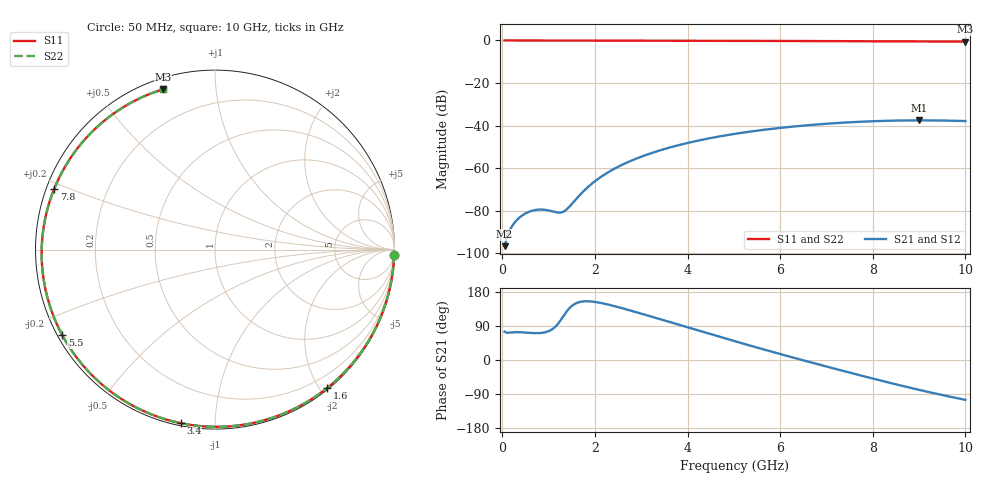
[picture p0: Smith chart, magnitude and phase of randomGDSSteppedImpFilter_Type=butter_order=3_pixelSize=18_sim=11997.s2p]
! freq	dB(S11)	phase(S11)	dB(S12)	phase(S12)
!  dB(S21)	phase(S21)	dB(S22)	phase(S22)
!S-par simulation data
#  GHz  S  DB  R 50
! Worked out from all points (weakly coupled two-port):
!   200 points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, 50 MHz to 10 GHz, reference 50 ohm
!   highest |S21| = -37.55 dB at 9 GHz (marker M1); lowest = -96.7 dB at 50 MHz (marker M2)
!   lowest |S11| = -0.5 dB at 10 GHz (marker M3), VSWR 31.66, Z = 2.41 + j36.3 ohm
!   |S11| at or under -10 dB: nowhere
!   |S22| runs from -0.5 to 0.0 dB; largest |S21 - S12| = 0
!   S11 on the Smith chart (normalised r, x): 50 MHz: 2, -73; 1.6 GHz: 0.02, -2.10; 3.4 GHz: 0.01, -0.82; 5.5 GHz: 0.01, -0.26; 7.8 GHz: 0.02, +0.18; 10 GHz: 0.05, +0.73
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0.05  -0.01 -1.6  -96.66 74.9  -96.66 74.9  -0.01 -1.6
0.65  -0.03 -21.1  -79.98 71.1  -79.98 71.1  -0.03 -21.1
0.85  -0.04 -27.5  -79.46 71.6  -79.46 71.6  -0.04 -27.5
1.35  -0.05 -43.3  -80.07 121.3  -80.07 121.3  -0.05 -43.3
1.45  -0.06 -46.3  -78.10 136.9  -78.10 136.9  -0.06 -46.3
1.6  -0.06 -50.9  -74.40 150.1  -74.40 150.1  -0.06 -50.9
1.75  -0.07 -55.4  -70.92 154.6  -70.92 154.6  -0.07 -55.4
2.05  -0.08 -64.3  -65.34 152.3  -65.34 152.3  -0.08 -64.3
2.45  -0.09 -75.7  -59.94 141.3  -59.94 141.3  -0.09 -75.7
2.9  -0.11 -88.1  -55.47 125.9  -55.47 125.9  -0.11 -88.1
3.4  -0.12 -101.2  -51.68 107.9  -51.68 107.9  -0.12 -101.2
4.15  -0.15 -119.8  -47.43 80.7  -47.43 80.7  -0.15 -119.8
5.05  -0.19 -140.7  -43.79 48.5  -43.79 48.5  -0.19 -140.7
5.5  -0.22 -150.7  -42.40 32.8  -42.40 32.8  -0.22 -150.7
6.1  -0.25 -163.8  -40.87 12.4  -40.87 12.4  -0.25 -163.8
6.7  -0.29 -176.8  -39.65 -7.5  -39.65 -7.5  -0.29 -176.8
7.25  -0.33 171.3  -38.77 -25.3  -38.77 -25.3  -0.33 171.3
7.8  -0.38 159.2  -38.13 -42.7  -38.13 -42.7  -0.38 159.2
8.35  -0.42 147.0  -37.72 -59.7  -37.72 -59.7  -0.42 147.0
9  -0.47 132.0  -37.55 -78.8  -37.55 -78.8  -0.47 132.0
9.5  -0.51 120.2  -37.64 -92.5  -37.64 -92.5  -0.51 120.2
10  -0.55 108.0  -37.87 -105.2  -37.87 -105.2  -0.55 108.0
